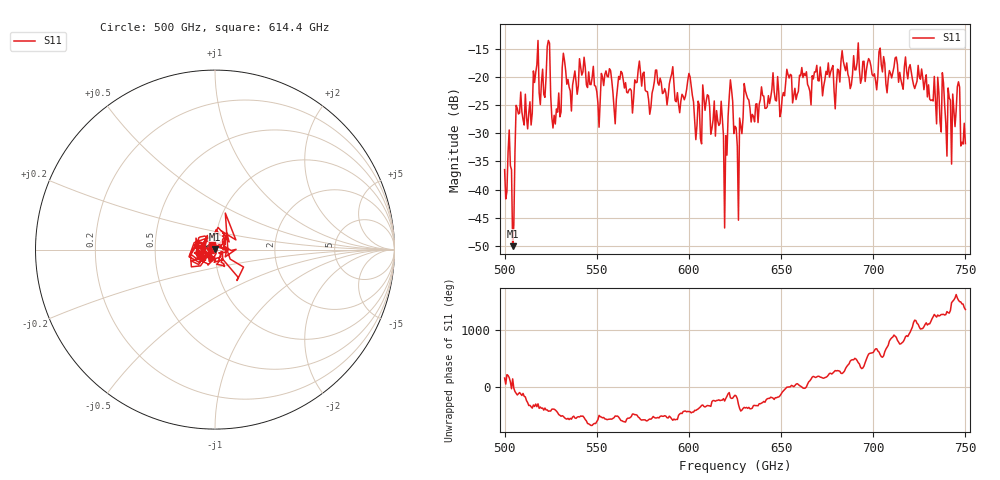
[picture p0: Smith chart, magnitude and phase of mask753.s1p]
!Created with skrf (http://scikit-rf.org).
# GHz S MA R 50.0
!freq magS11 angS11
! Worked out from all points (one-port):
!   401 points, 500 GHz to 750 GHz, reference 50 ohm
!   lowest |S11| = -50.1 dB at 504.4 GHz (marker M1), VSWR 1.01, Z = 49.7 + j0.167 ohm
!   |S11| at or under -10 dB: start of sweep to end of sweep
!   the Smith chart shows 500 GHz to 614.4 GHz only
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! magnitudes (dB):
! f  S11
! 500 GHz  -36.5
! 502.5 GHz  -29.4
! 504.4 GHz  -50.1
! 507.5 GHz  -26.6
! 513.8 GHz  -24.4
! 516.9 GHz  -19.2
! 520.6 GHz  -18.6
! 523.8 GHz  -13.5
! 526.9 GHz  -26.8
! 531.2 GHz  -18.3
! 541.9 GHz  -19.7
! 550.6 GHz  -24.6
! 556.2 GHz  -20.0
! 560 GHz  -28.3
! 562.5 GHz  -20.4
! 593.8 GHz  -22.8
! 608.8 GHz  -25.9
! 619.4 GHz  -46.8
! 622.5 GHz  -20.5
! 625 GHz  -28.8
! 627.5 GHz  -27.3
! 631.2 GHz  -23.2
! 656.2 GHz  -24.6
! 687.5 GHz  -22.1
! 718.8 GHz  -20.3
! 741.2 GHz  -23.7
! 745.6 GHz  -21.7
! 750 GHz  -31.8
